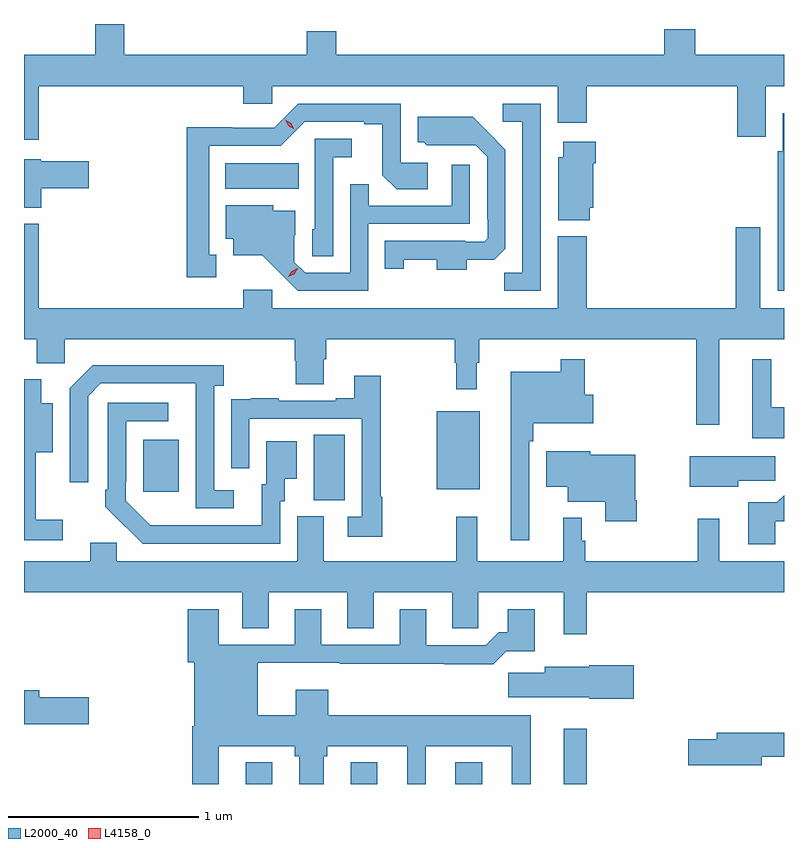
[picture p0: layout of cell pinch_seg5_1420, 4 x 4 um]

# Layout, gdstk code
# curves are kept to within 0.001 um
import gdstk
lib = gdstk.Library(unit=1e-6, precision=1e-09)
def R(c, l, rs):  # rectangles x0, y0, x1, y1
    for r in rs: c.add(gdstk.rectangle(r[:2], r[2:], *l))
def A(c, l, x, y, w, h, nx, ny, dx, dy):  # array of equal rectangles
    R(c, l, [(x+i*dx, y+j*dy, x+i*dx+w, y+j*dy+h) for i in range(nx) for j in range(ny)])
def P(c, l, *ps):  # polygons
    for p in ps: c.add(gdstk.Polygon(p, *l))
L2000_40 = (2000, 40)
L4158_0 = (4158, 0)

pinch_seg5_1420 = lib.new_cell('pinch_seg5_1420')
A(pinch_seg5_1420, L2000_40, 143.249, 882.391, 0.14, 0.114, 3, 1, 0.552, 0)
R(pinch_seg5_1420, L2000_40, [(144.923,882.391,145.045,882.682), (143.606,883.885,143.77,884.228), (142.709,883.929,142.897,884.203), (144.254,883.943,144.481,884.353), (143.141,885.524,143.528,885.658)])
P(pinch_seg5_1420, L2000_40, [(142.159,886.064),(143.237,886.064),(143.237,885.971),(143.388,885.971),(143.388,886.064),(144.89,886.064),(144.89,885.87),(145.043,885.87),(145.043,886.064),(145.835,886.064),(145.835,885.798),(145.987,885.798),(145.987,886.064),(146.082,886.064),(146.082,886.228),(145.616,886.228),(145.616,886.364),(145.451,886.364),(145.451,886.228),(143.726,886.228),(143.726,886.352),(143.569,886.352),(143.569,886.228),(142.609,886.228),(142.609,886.391),(142.457,886.391),(142.457,886.228),(142.082,886.228),(142.082,885.783),(142.159,885.783)],
  [(144.801,885.972),(144.603,885.972),(144.603,885.876),(144.705,885.876),(144.705,885.083),(144.61,885.083),(144.61,884.988),(144.801,884.988)],
  [(143.095,885.177),(143.056,885.177),(143.056,885.75),(143.433,885.75),(143.559,885.876),(143.873,885.876),(143.873,885.864),(143.967,885.864),(143.967,885.596),(144.043,885.52),(144.208,885.52),(144.208,885.66),(144.066,885.66),(144.066,885.972),(143.526,885.972),(143.4,885.846),(143.178,885.846),(143.178,885.848),(142.938,885.848),(142.938,885.057),(143.095,885.057)],
  [(146.082,885.922),(146.075,885.922),(146.075,885.72),(146.048,885.72),(146.048,884.987),(146.082,884.987)],
  [(144.412,885.149),(144.556,885.149),(144.615,885.208),(144.615,885.73),(144.443,885.904),(144.155,885.904),(144.155,885.768),(144.186,885.768),(144.202,885.752),(144.459,885.753),(144.519,885.693),(144.519,885.364),(144.522,885.364),(144.522,885.264),(144.504,885.246),(144.404,885.246),(144.404,885.249),(143.98,885.249),(143.98,885.102),(144.081,885.102),(144.081,885.151),(144.254,885.151),(144.254,885.098),(144.412,885.098)],
  [(143.709,885.689),(143.806,885.689),(143.806,885.786),(143.613,885.786),(143.613,885.312),(143.598,885.312),(143.598,885.169),(143.709,885.169)],
  [(145.06,885.423),(145.078,885.423),(145.078,885.659),(145.091,885.659),(145.091,885.772),(144.92,885.772),(144.92,885.69),(144.893,885.69),(144.893,885.359),(145.06,885.359)],
  [(142.174,885.527),(142.423,885.527),(142.423,885.669),(142.17,885.669),(142.17,885.679),(142.082,885.679),(142.082,885.425),(142.174,885.425)],
  [(143.895,885.339),(144.429,885.339),(144.429,885.649),(144.333,885.649),(144.333,885.435),(143.897,885.435),(143.897,885.548),(143.799,885.548),(143.799,885.081),(143.562,885.081),(143.505,885.138),(143.505,885.28),(143.509,885.28),(143.509,885.409),(143.394,885.409),(143.394,885.436),(143.144,885.436),(143.144,885.26),(143.183,885.26),(143.183,885.173),(143.335,885.173),(143.522,884.988),(143.895,884.988)],
  [(145.741,884.732),(146.082,884.732),(146.082,884.896),(145.957,884.896),(145.957,885.322),(145.829,885.322),(145.829,884.896),(145.043,884.896),(145.043,885.274),(144.89,885.274),(144.89,884.896),(143.388,884.896),(143.388,884.992),(143.237,884.992),(143.237,884.896),(142.159,884.896),(142.159,885.34),(142.082,885.34),(142.082,884.732),(142.15,884.732),(142.15,884.606),(142.296,884.606),(142.296,884.732),(143.507,884.732),(143.507,884.619),(143.512,884.619),(143.512,884.494),(143.659,884.494),(143.659,884.626),(143.672,884.626),(143.672,884.732),(144.349,884.732),(144.349,884.609),(144.357,884.609),(144.357,884.469),(144.466,884.469),(144.466,884.609),(144.478,884.609),(144.478,884.732),(145.62,884.732),(145.62,884.283),(145.741,884.283)],
  [(144.741,884.195),(144.761,884.195),(144.761,884.291),(145.078,884.291),(145.078,884.439),(145.034,884.439),(145.034,884.626),(144.906,884.626),(144.906,884.56),(144.644,884.56),(144.644,883.674),(144.741,883.674)],
  [(146.082,884.374),(146.014,884.374),(146.014,884.626),(145.916,884.626),(145.916,884.21),(146.082,884.21)],
  [(143.185,883.938),(143.082,883.938),(143.082,884.486),(143.134,884.486),(143.134,884.596),(142.444,884.596),(142.323,884.475),(142.323,883.98),(142.419,883.98),(142.419,884.433),(142.485,884.499),(142.985,884.499),(142.986,883.842),(143.185,883.842)],
  [(143.968,883.904),(143.96,883.904),(143.96,884.539),(143.819,884.539),(143.819,884.422),(143.723,884.422),(143.723,884.409),(143.423,884.409),(143.423,884.422),(143.275,884.422),(143.275,884.415),(143.173,884.415),(143.173,884.306),(143.172,884.306),(143.172,884.052),(143.268,884.052),(143.268,884.313),(143.859,884.313),(143.859,883.797),(143.787,883.797),(143.787,883.692),(143.968,883.692)],
  [(142.285,883.783),(142.145,883.783),(142.145,884.138),(142.234,884.138),(142.234,884.395),(142.174,884.395),(142.174,884.521),(142.082,884.521),(142.082,883.674),(142.285,883.674)],
  [(143.43,883.878),(143.455,883.878),(143.455,883.997),(143.518,883.997),(143.518,884.194),(143.357,884.194),(143.357,883.968),(143.333,883.968),(143.333,883.752),(142.746,883.753),(142.617,883.881),(142.617,883.981),(142.62,883.981),(142.62,884.301),(142.84,884.301),(142.84,884.397),(142.524,884.397),(142.524,883.939),(142.509,883.939),(142.509,883.851),(142.706,883.656),(143.43,883.656)],
  [(145.308,883.885),(145.3,883.885),(145.3,884.125),(145.062,884.125),(145.062,884.143),(144.83,884.143),(144.83,883.955),(144.944,883.955),(144.944,883.877),(145.142,883.877),(145.142,883.773),(145.308,883.773)],
  [(145.84,883.987),(146.035,883.987),(146.035,884.116),(145.586,884.116),(145.586,883.955),(145.84,883.955)],
  [(146.035,883.775),(146.082,883.775),(146.082,883.911),(146.044,883.873),(145.895,883.873),(145.895,883.653),(146.035,883.653)],
  [(145.045,883.4),(146.082,883.4),(146.082,883.564),(145.741,883.564),(145.741,883.786),(145.627,883.786),(145.627,883.564),(145.037,883.564),(145.037,883.671),(145.017,883.671),(145.017,883.792),(144.92,883.792),(144.92,883.564),(144.467,883.564),(144.467,883.798),(144.357,883.798),(144.357,883.564),(143.659,883.564),(143.659,883.8),(143.519,883.8),(143.519,883.564),(142.569,883.564),(142.569,883.662),(142.43,883.662),(142.43,883.564),(142.082,883.564),(142.082,883.4),(143.231,883.4),(143.231,883.21),(143.371,883.21),(143.371,883.4),(143.783,883.4),(143.783,883.21),(143.923,883.21),(143.923,883.4),(144.335,883.4),(144.335,883.21),(144.474,883.21),(144.474,883.4),(144.923,883.4),(144.923,883.179),(145.045,883.179)],
  [(143.107,882.59),(143.506,882.59),(143.506,882.537),(143.531,882.537),(143.531,882.391),(143.659,882.391),(143.659,882.537),(143.679,882.537),(143.679,882.59),(144.098,882.59),(144.098,882.391),(144.196,882.391),(144.196,882.59),(144.65,882.59),(144.65,882.391),(144.748,882.391),(144.748,882.754),(143.684,882.754),(143.684,882.886),(143.513,882.886),(143.513,882.754),(143.311,882.754),(143.311,883.028),(143.743,883.028),(143.743,883.024),(144.295,883.024),(144.295,883.022),(144.551,883.022),(144.62,883.091),(144.769,883.091),(144.769,883.312),(144.629,883.312),(144.629,883.189),(144.58,883.189),(144.513,883.122),(144.199,883.122),(144.199,883.312),(144.059,883.312),(144.059,883.125),(143.647,883.125),(143.647,883.312),(143.507,883.312),(143.507,883.125),(143.107,883.125),(143.107,883.312),(142.943,883.312),(142.943,883.032),(142.979,883.032),(142.979,882.694),(142.967,882.694),(142.967,882.391),(143.107,882.391)],
  [(145.291,883.017),(145.056,883.017),(145.056,883.009),(144.824,883.009),(144.824,882.977),(144.63,882.977),(144.63,882.848),(145.056,882.848),(145.056,882.839),(145.291,882.839)],
  [(142.423,882.848),(142.162,882.848),(142.162,882.884),(142.082,882.884),(142.082,882.706),(142.423,882.706)],
  [(145.966,882.534),(146.082,882.534),(146.082,882.662),(145.727,882.662),(145.727,882.626),(145.578,882.626),(145.578,882.491),(145.966,882.491)])
P(pinch_seg5_1420, L4158_0, [(143.474,885.06),(143.474,885.06),(143.491,885.09),(143.521,885.105),(143.522,885.105),(143.522,885.105),(143.504,885.075),(143.474,885.06)],
  [(143.505,885.836),(143.473,885.855),(143.456,885.887),(143.456,885.888),(143.456,885.888),(143.488,885.868),(143.505,885.836),(143.505,885.836)])

lib.write_gds('pinch_seg5_1420.gds')
